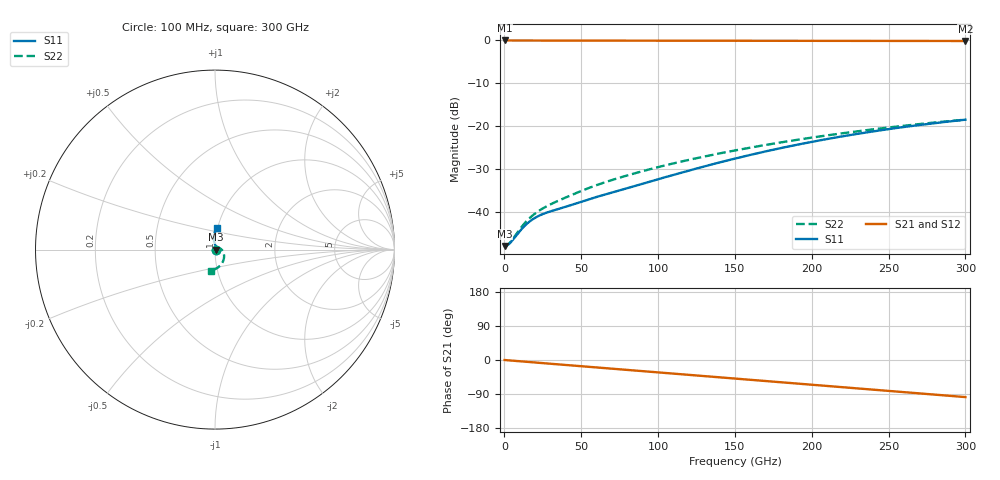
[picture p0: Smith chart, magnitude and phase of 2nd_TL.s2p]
#  Hz  S  RI  R  50
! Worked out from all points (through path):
!   3000 points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, 100 MHz to 300 GHz, reference 50 ohm
!   highest |S21| = -0.03 dB at 100 MHz (marker M1); lowest = -0.2 dB at 300 GHz (marker M2)
!   group delay of S21, straight-line fit = 905 fs
!   lowest |S11| = -47.8 dB at 100 MHz (marker M3), VSWR 1.01, Z = 50.4 + j0.00408 ohm
!   |S11| at or under -10 dB: start of sweep to end of sweep
!   |S22| runs from -47.8 to -18.4 dB; largest |S21 - S12| = 0.001
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1e8  0.00406 4.05e-05  0.9961 -0.000589  0.9961 -0.000589  0.00405 4.06e-05
1.7e9  0.00409 0.000687  0.996 -0.01  0.996 -0.01  0.00409 0.000688
3.3e9  0.00415 0.00132  0.9958 -0.0194  0.9958 -0.0194  0.00419 0.00133
5.2e9  0.00427 0.00206  0.9953 -0.0306  0.9953 -0.0306  0.00438 0.00206
1.04e10  0.00482 0.00388  0.9933 -0.0607  0.9933 -0.0607  0.00527 0.00385
1.33e10  0.00519 0.00473  0.9917 -0.0773  0.9917 -0.0773  0.00593 0.00466
1.7e10  0.00566 0.00565  0.9892 -0.0983  0.9892 -0.0983  0.00686 0.0055
2.09e10  0.00606 0.00645  0.9863 -0.1201  0.9863 -0.1201  0.00786 0.00618
2.52e10  0.00636 0.00721  0.9827 -0.144  0.9827 -0.144  0.00894 0.00674
3.06e10  0.00649 0.0081  0.9776 -0.1738  0.9776 -0.1738  0.0102 0.00731
5.01e10  0.00585 0.012  0.9517 -0.2808  0.9517 -0.2808  0.0154 0.0089
6.02e10  0.00538 0.0142  0.9336 -0.3347  0.9336 -0.3347  0.0188 0.00902
7.08e10  0.00463 0.0165  0.9115 -0.39  0.9115 -0.39  0.0226 0.0084
1.001e11  0.00164 0.0243  0.8335 -0.5351  0.8335 -0.5352  0.0335 0.00298
1.244e11  -0.00124 0.0321  0.7515 -0.6443  0.7514 -0.6444  0.042 -0.00618
1.501e11  -0.00405 0.0421  0.6493 -0.7462  0.6491 -0.7462  0.0485 -0.0202
1.753e11  -0.00605 0.0534  0.5356 -0.8306  0.5353 -0.8305  0.0508 -0.0374
2.001e11  -0.00671 0.0658  0.4131 -0.8968  0.4128 -0.8966  0.0478 -0.0566
2.251e11  -0.0056 0.0792  0.2814 -0.9452  0.2811 -0.9448  0.0387 -0.0763
2.501e11  -0.00255 0.0929  0.1442 -0.9744  0.144 -0.9738  0.0231 -0.0943
2.756e11  0.00291 0.1066  0.00186 -0.9835  0.0019 -0.9827  0.00111 -0.109
3e11  0.0106 0.1191  -0.1348 -0.9725  -0.1345 -0.9715  -0.0245 -0.1172
